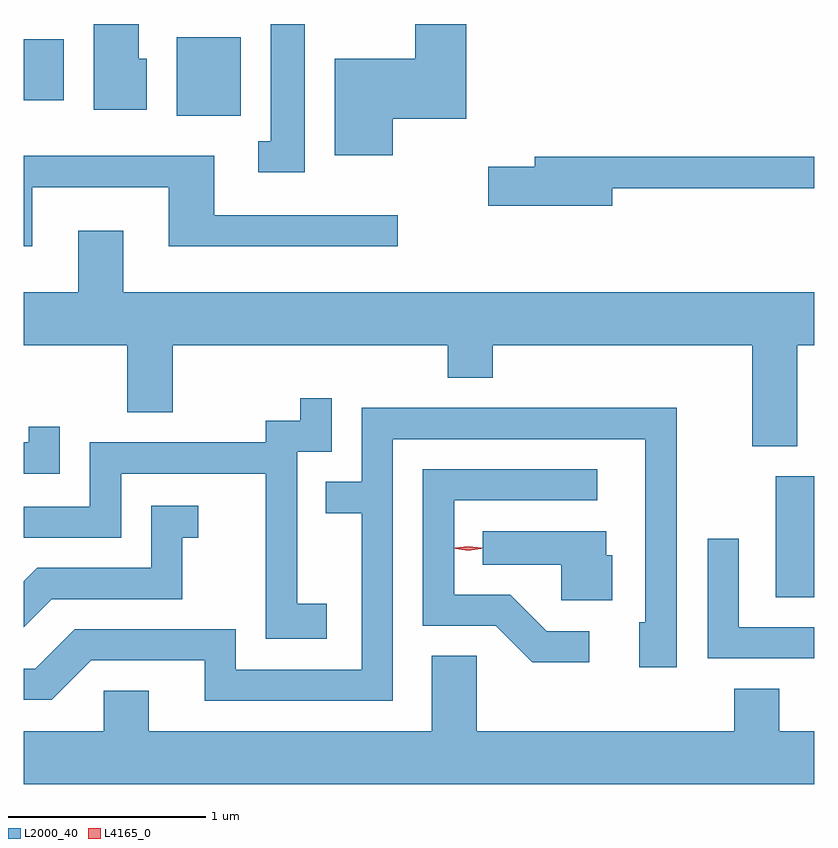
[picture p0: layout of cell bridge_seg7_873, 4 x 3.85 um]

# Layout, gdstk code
import gdstk
lib = gdstk.Library(unit=1e-6, precision=1e-09)
def R(c, l, rs):  # rectangles x0, y0, x1, y1
    for r in rs: c.add(gdstk.rectangle(r[:2], r[2:], *l))
def P(c, l, *ps):  # polygons
    for p in ps: c.add(gdstk.Polygon(p, *l))
L2000_40 = (2000, 40)
L4165_0 = (4165, 0)

bridge_seg7_873 = lib.new_cell('bridge_seg7_873')
R(bridge_seg7_873, L2000_40, [(607.441,1695.281,607.636,1695.894), (604.411,1697.716,604.734,1698.114), (603.636,1697.796,603.839,1698.104)])
P(bridge_seg7_873, L2000_40, [(604.259,1698.004),(604.219,1698.004),(604.219,1698.181),(603.991,1698.181),(603.991,1697.746),(604.259,1697.746)],
  [(605.504,1697.701),(605.874,1697.701),(605.874,1698.181),(605.616,1698.181),(605.616,1698.004),(605.211,1698.004),(605.211,1697.516),(605.504,1697.516)],
  [(605.059,1698.181),(604.886,1698.181),(604.886,1697.589),(604.823,1697.589),(604.823,1697.431),(605.059,1697.431)],
  [(603.679,1697.356),(604.371,1697.356),(604.371,1697.056),(605.528,1697.056),(605.528,1697.214),(604.599,1697.214),(604.599,1697.514),(603.636,1697.514),(603.636,1697.056),(603.679,1697.056)],
  [(606.614,1697.351),(607.636,1697.351),(607.636,1697.509),(606.221,1697.509),(606.221,1697.459),(605.986,1697.459),(605.986,1697.261),(606.614,1697.261)],
  [(607.549,1696.556),(607.636,1696.556),(607.636,1696.824),(604.139,1696.824),(604.139,1697.134),(603.911,1697.134),(603.911,1696.824),(603.636,1696.824),(603.636,1696.556),(604.161,1696.556),(604.161,1696.216),(604.389,1696.216),(604.389,1696.556),(605.781,1696.556),(605.781,1696.391),(606.009,1696.391),(606.009,1696.556),(607.321,1696.556),(607.321,1696.046),(607.549,1696.046)],
  [(605.169,1695.249),(605.019,1695.249),(605.019,1696.016),(605.194,1696.016),(605.194,1696.288),(605.036,1696.288),(605.036,1696.174),(604.861,1696.174),(604.861,1696.064),(603.971,1696.064),(603.971,1695.739),(603.636,1695.739),(603.636,1695.581),(604.129,1695.581),(604.129,1695.906),(604.861,1695.906),(604.861,1695.071),(605.169,1695.071)],
  [(605.504,1696.081),(606.781,1696.081),(606.781,1695.154),(606.751,1695.154),(606.751,1694.926),(606.939,1694.926),(606.939,1696.239),(605.346,1696.239),(605.346,1695.864),(605.163,1695.864),(605.163,1695.706),(605.346,1695.706),(605.346,1694.914),(604.709,1694.914),(604.709,1695.119),(603.894,1695.119),(603.694,1694.919),(603.636,1694.919),(603.636,1694.761),(603.777,1694.761),(603.977,1694.961),(604.551,1694.961),(604.551,1694.756),(605.504,1694.756)],
  [(603.819,1696.143),(603.661,1696.143),(603.661,1696.064),(603.636,1696.064),(603.636,1695.906),(603.819,1695.906)],
  [(606.498,1695.109),(606.282,1695.109),(606.097,1695.294),(605.814,1695.294),(605.814,1695.771),(606.538,1695.771),(606.538,1695.929),(605.656,1695.929),(605.656,1695.136),(606.024,1695.136),(606.209,1694.951),(606.498,1694.951)],
  [(603.777,1695.271),(604.439,1695.271),(604.439,1695.581),(604.518,1695.581),(604.518,1695.744),(604.281,1695.744),(604.281,1695.429),(603.704,1695.429),(603.636,1695.361),(603.636,1695.13)],
  [(606.614,1695.494),(606.584,1695.494),(606.584,1695.614),(605.958,1695.614),(605.958,1695.446),(606.356,1695.446),(606.356,1695.266),(606.614,1695.266)],
  [(607.636,1695.129),(607.254,1695.129),(607.254,1695.578),(607.096,1695.578),(607.096,1694.971),(607.636,1694.971)],
  [(607.636,1694.604),(607.459,1694.604),(607.459,1694.819),(607.231,1694.819),(607.231,1694.604),(605.929,1694.604),(605.929,1694.984),(605.701,1694.984),(605.701,1694.604),(604.269,1694.604),(604.269,1694.809),(604.041,1694.809),(604.041,1694.604),(603.636,1694.604),(603.636,1694.336),(607.636,1694.336)])
P(bridge_seg7_873, L4165_0, [(605.886,1695.517),(605.82,1695.527),(605.819,1695.527),(605.82,1695.528),(605.886,1695.537),(605.952,1695.528),(605.953,1695.527),(605.952,1695.527)],
  [(605.886,1695.52),(605.817,1695.53),(605.817,1695.53),(605.817,1695.53),(605.886,1695.54),(605.955,1695.53),(605.956,1695.53),(605.955,1695.53)])

lib.write_gds('bridge_seg7_873.gds')
